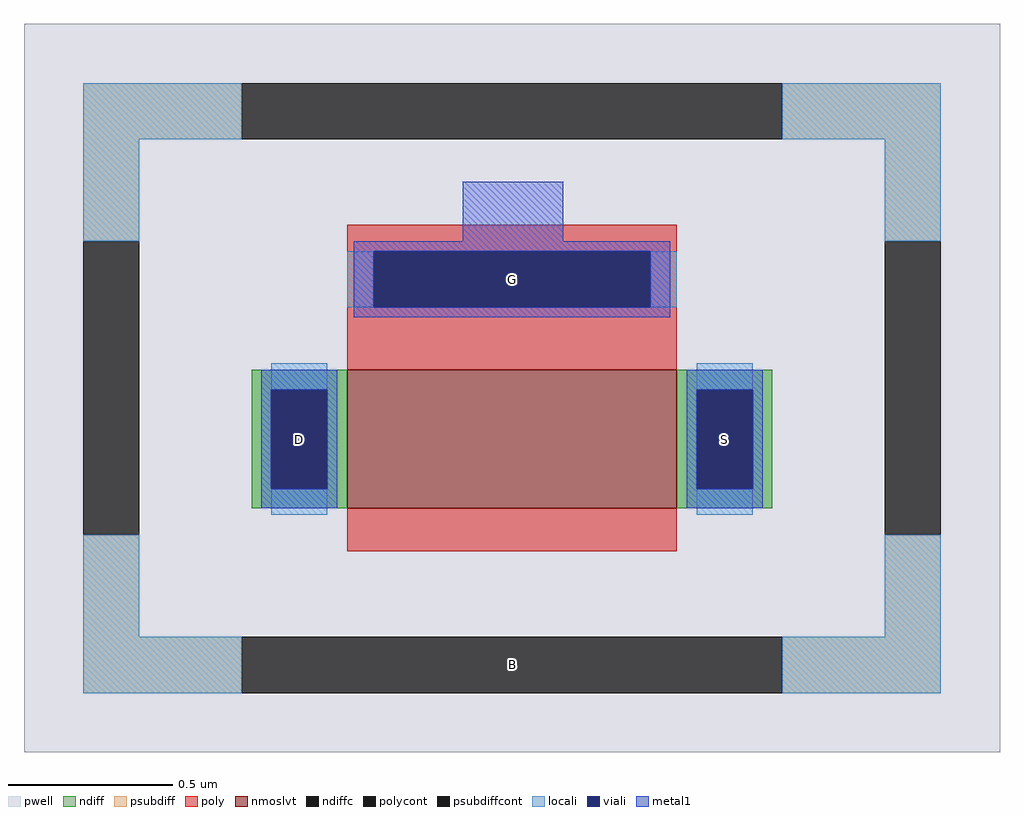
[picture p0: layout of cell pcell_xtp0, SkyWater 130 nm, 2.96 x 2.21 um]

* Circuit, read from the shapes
.subckt pcell_xtp0 B D S G
XM1 S G D B sky130_fd_pr__nfet_01v8_lvt w=0.42 l=1
.ends

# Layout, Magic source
magic
tech sky130A
magscale 1 2
<< pwell >>
rect -296 -221 296 221
<< nmoslvt >>
rect -100 -73 100 11
<< ndiff >>
rect -158 -1 -100 11
rect -158 -61 -146 -1
rect -112 -61 -100 -1
rect -158 -73 -100 -61
rect 100 -1 158 11
rect 100 -61 112 -1
rect 146 -61 158 -1
rect 100 -73 158 -61
<< ndiffc >>
rect -146 -61 -112 -1
rect 112 -61 146 -1
<< psubdiff >>
rect -260 151 -164 185
rect 164 151 260 185
rect -260 89 -226 151
rect 226 89 260 151
rect -260 -151 -226 -89
rect 226 -151 260 -89
rect -260 -185 -164 -151
rect 164 -185 260 -151
<< psubdiffcont >>
rect -164 151 164 185
rect -260 -89 -226 89
rect 226 -89 260 89
rect -164 -185 164 -151
<< poly >>
rect -100 83 100 99
rect -100 49 -84 83
rect 84 49 100 83
rect -100 11 100 49
rect -100 -99 100 -73
<< polycont >>
rect -84 49 84 83
<< locali >>
rect -260 151 -164 185
rect 164 151 260 185
rect -260 89 -226 151
rect 226 89 260 151
rect -100 49 -84 83
rect 84 49 100 83
rect -146 -1 -112 15
rect -146 -77 -112 -61
rect 112 -1 146 15
rect 112 -77 146 -61
rect -260 -151 -226 -89
rect 226 -151 260 -89
rect -260 -185 -164 -151
rect 164 -185 260 -151
<< viali >>
rect -84 49 84 83
rect -146 -61 -112 -1
rect 112 -61 146 -1
<< metal1 >>
rect -30 89 31 125
rect -96 83 96 89
rect -96 49 -84 83
rect 84 49 96 83
rect -96 43 96 49
rect -152 -1 -106 11
rect -152 -61 -146 -1
rect -112 -61 -106 -1
rect -152 -73 -106 -61
rect 106 -1 152 11
rect 106 -61 112 -1
rect 146 -61 152 -1
rect 106 -73 152 -61
<< labels >>
rlabel psubdiffcont 0 -168 0 -168 0 B
port 1 nsew
rlabel ndiffc -129 -31 -129 -31 0 D
port 2 nsew
rlabel ndiffc 129 -31 129 -31 0 S
port 3 nsew
rlabel polycont 0 66 0 66 0 G
port 4 nsew
<< end >>
